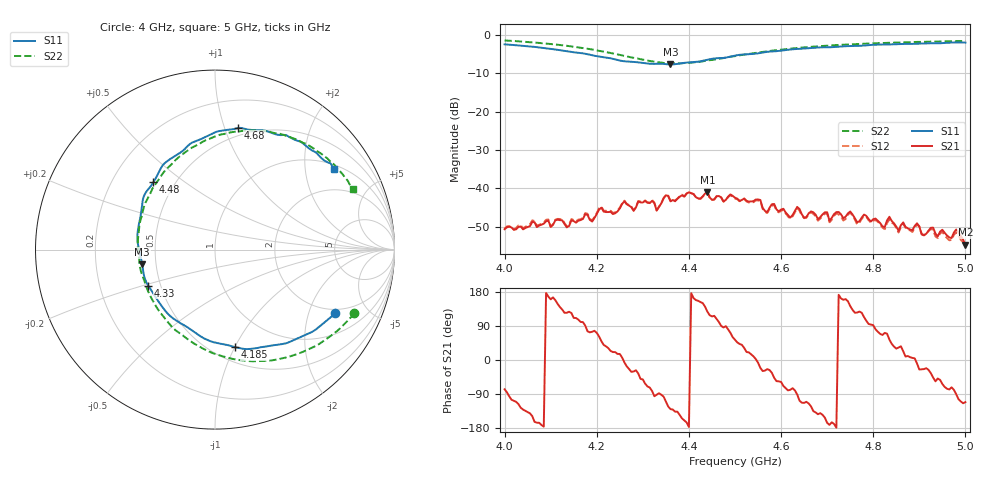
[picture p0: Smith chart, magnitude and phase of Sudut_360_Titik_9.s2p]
# Hz S RI R 50
! CMT, C1220, 16058040, 17.2.0/1
! Date: 15/08/2018 11:37:24
! Data: Format (Calibration Info)
! Freq  S11: Re/Im (F2)  S21: Re/Im (F2)  S12: Re/Im (F2)  S22: Re/Im (F2)
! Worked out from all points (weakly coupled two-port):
!   201 points, 4 GHz to 5 GHz, reference 50 ohm
!   highest |S21| = -41.01 dB at 4.44 GHz (marker M1); lowest = -54.7 dB at 5 GHz (marker M2)
!   lowest |S11| = -7.7 dB at 4.36 GHz (marker M3), VSWR 2.41, Z = 20.9 - j4.09 ohm
!   |S11| at or under -10 dB: nowhere
!   |S22| runs from -7.4 to -1.4 dB; largest |S21 - S12| = 0.00036
!   S11 on the Smith chart (normalised r, x): 4 GHz: 1.81, -3.01; 4.185 GHz: 0.64, -1.00; 4.33 GHz: 0.43, -0.21; 4.48 GHz: 0.38, +0.39; 4.68 GHz: 0.43, +1.11; 5 GHz: 1.14, +2.84
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4e9  0.669 -0.355  0.000643 -0.00285  0.000738 -0.00286  0.7755 -0.3528
4.17e9  0.166 -0.5539  -0.000693 0.00391  -0.000824 0.00402  0.2751 -0.6199
4.185e9  0.1126 -0.5437  0.00113 0.0037  0.00114 0.00382  0.2113 -0.6222
4.26e9  -0.1724 -0.4212  0.0067 -0.000747  0.00684 -0.000807  -0.1175 -0.5229
4.28e9  -0.2469 -0.3725  0.00438 -0.00256  0.00439 -0.00266  -0.1973 -0.4651
4.32e9  -0.3499 -0.2351  0.00099 -0.00676  0.000977 -0.00696  -0.3313 -0.3114
4.33e9  -0.3718 -0.2009  -0.00013 -0.0051  -0.00017 -0.00515  -0.3554 -0.2686
4.335e9  -0.382 -0.1832  0.000238 -0.0057  0.000175 -0.00572  -0.3673 -0.2448
4.36e9  -0.4055 -0.0811  -0.00429 -0.00519  -0.00446 -0.00522  -0.4115 -0.1256
4.44e9  -0.4057 0.2501  -0.00544 0.00705  -0.0053 0.00701  -0.3878 0.2606
4.48e9  -0.3437 0.375  9.78e-05 0.00704  0.000311 0.0069  -0.3013 0.4094
4.5e9  -0.3057 0.4456  0.00449 0.00603  0.00446 0.00586  -0.2468 0.4712
4.62e9  -0.0095 0.6492  0.000811 -0.00405  0.000707 -0.00395  0.1106 0.6565
4.635e9  0.0208 0.6599  -0.000109 -0.0057  -0.00018 -0.00554  0.1523 0.6613
4.67e9  0.1107 0.6728  -0.00343 -0.00343  -0.00334 -0.00321  0.247 0.6631
4.68e9  0.1299 0.6775  -0.00316 -0.00237  -0.00304 -0.00224  0.271 0.6603
4.75e9  0.2857 0.6609  -0.00394 0.00303  -0.00385 0.00289  0.4314 0.6211
4.825e9  0.4246 0.6218  0.00099 0.00295  0.00102 0.00274  0.5665 0.5516
4.835e9  0.4437 0.6122  0.00249 0.00343  0.00222 0.00322  0.5812 0.541
4.855e9  0.4759 0.6013  0.00234 0.00151  0.00222 0.00143  0.6112 0.5187
4.98e9  0.6459 0.4774  -7.49e-06 -0.00289  8.88e-06 -0.00264  0.7493 0.3649
5e9  0.661 0.4496  -0.000662 -0.00171  -0.000523 -0.00167  0.7676 0.3382
